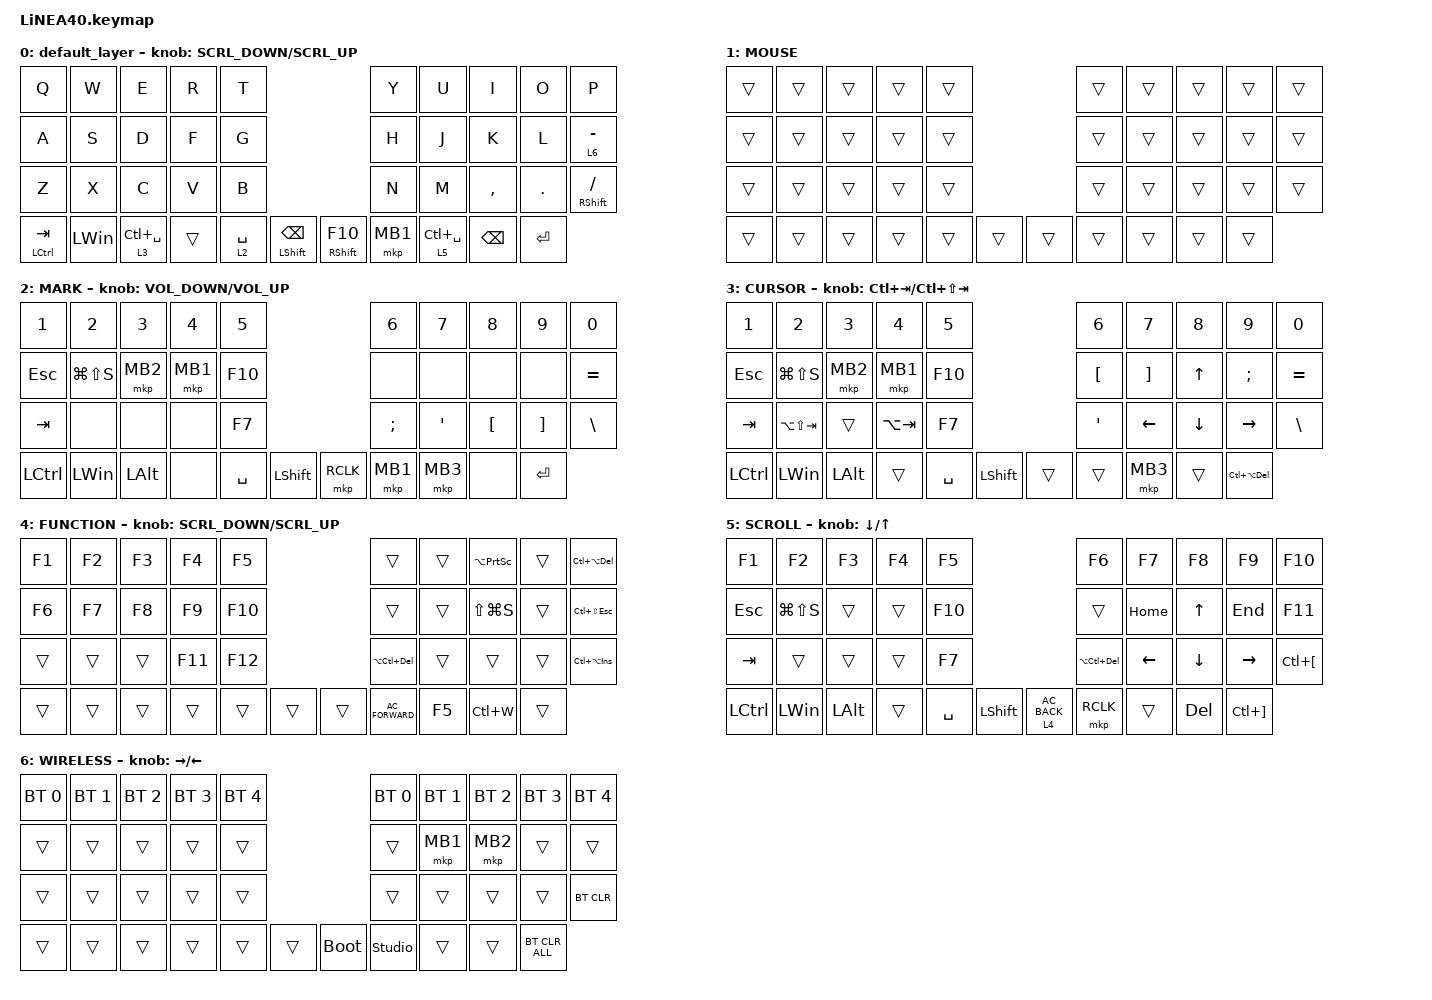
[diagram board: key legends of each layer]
#define ZMK_POINTING_DEFAULT_SCRL_VAL 150

#include <dt-bindings/zmk/input_transform.h>
#include <input/processors.dtsi>
#include <zephyr/dt-bindings/input/input-event-codes.h>
#include <behaviors.dtsi>
#include <dt-bindings/zmk/bt.h>
#include <dt-bindings/zmk/keys.h>
#include <dt-bindings/zmk/pointing.h>

#define MOUSE 1
#define MARK 2
#define CURSOR 3
#define FUNCTION 4
#define SCROLL 5
#define WIRELESS 6

//mouse cursol

&mmv {
    delay-ms = <20>;
    trigger-period-ms = <5>;
    time-to-max-speed-ms = <100>;
    acceleration-exponent = <2>;
};

//mouse scroll

&msc {
    delay-ms = <3>;
    trigger-period-ms = <3>;
    time-to-max-speed-ms = <100>;
    acceleration-exponent = <0>;
};

/ {
    input_processors {
        zip_wheel_scaler: zip_wheel_scaler {
            compatible = "zmk,input-processor-scaler";
            #input-processor-cells = <2>;
            type = <INPUT_EV_REL>;
            codes = <INPUT_REL_WHEEL>;
            track-remainders;
        };
    };
};

&msc_input_listener {
    speed_up {
        layers = <FUNCTION>;
        input-processors = <&zip_wheel_scaler 3 1>; //スクロールを3倍速にする
    };
};

&trackball_listener {
    scroller {
        layers = <SCROLL>;
        input-processors =
            <&zip_xy_transform INPUT_TRANSFORM_Y_INVERT>,
            //スクロール方向を逆転,,,,,,,,,,,,,,,,,,,,,,,,,,,,,,,,,,,,,,,,,,,,,,,,,,,,,,,
            <&zip_xy_to_scroll_mapper>;
    };
};

/ {
    combos {
        compatible = "zmk,combos";

        ZenkakuHankaku {
            bindings = <&kp GRAVE>;
            key-positions = <11 12>;
        };

        DeleteKey {
            bindings = <&kp DEL>;
            key-positions = <7 8>;
        };

        InsertKey {
            bindings = <&kp INS>;
            key-positions = <6 7>;
        };

        CenterClick {
            bindings = <&mkp MB3>;
            key-positions = <17 16>;
        };

        RightClick {
            bindings = <&mkp MB2>;
            key-positions = <18 17>;
        };

        PrevClick {
            bindings = <&mkp MB4>;
            key-positions = <27 28>;
        };

        ClickNext {
            bindings = <&mkp MB5>;
            key-positions = <26 27>;
        };
    };

    behaviors {
        re_kp: sensor_rotate_kp {
            compatible = "zmk,behavior-sensor-rotate-var";
            #sensor-binding-cells = <2>;
            bindings = <&kp>, <&kp>;
        };

        mouse_scrl: mouse_wheel_scrl {
            compatible = "zmk,behavior-sensor-rotate-var";
            #sensor-binding-cells = <2>;
            bindings = <&msc>, <&msc>;

            tap-ms = <20>;
        };

        lt_mouse: layer_tap_mouse {
            compatible = "zmk,behavior-hold-tap";
            label = "LAYER_TAP_MOUSE";
            #binding-cells = <2>;
            flavor = "tap-preferred"; // タップを優先する設定
            tapping-term-ms = <200>;  // ホールドと判定する時間（ミリ秒）
            bindings = <&mo>, <&mkp>;

            // 1番目にホールド時(&mo)、2番目にタップ時(&mkp)を指定
        };
    };

    keymap {
        compatible = "zmk,keymap";

        default_layer {
            bindings = <
&kp Q          &kp W         &kp E            &kp R   &kp T                                                         &kp Y     &kp U  &kp I            &kp O          &kp P
&kp A          &kp S         &kp D            &kp F   &kp G                                                         &kp H     &kp J  &kp K            &kp L          &lt 6 MINUS
&kp Z          &kp X         &kp C            &kp V   &kp B                                                         &kp N     &kp M  &kp COMMA        &kp DOT        &mt RIGHT_SHIFT SLASH
&mt LCTRL TAB  &kp LEFT_WIN  &lt 3 LC(SPACE)  &trans  &lt 2 SPACE  &mt LEFT_SHIFT BACKSPACE    &mt RIGHT_SHIFT F10  &mkp MB1         &lt 5 LC(SPACE)  &kp BACKSPACE  &kp ENTER
            >;

            sensor-bindings = <&mouse_scrl SCRL_DOWN SCRL_UP>;
        };

        //1

        MOUSE {
            bindings = <
&trans  &trans  &trans  &trans  &trans                    &trans  &trans  &trans  &trans  &trans
&trans  &trans  &trans  &trans  &trans                    &trans  &trans  &trans  &trans  &trans
&trans  &trans  &trans  &trans  &trans                    &trans  &trans  &trans  &trans  &trans
&trans  &trans  &trans  &trans  &trans  &trans    &trans  &trans          &trans  &trans  &trans
            >;
        };

        //2

        MARK {
            bindings = <
&kp NUMBER_1  &kp NUMBER_2   &kp NUMBER_3  &kp NUMBER_4  &kp N5                                  &kp NUMBER_6   &kp N7   &kp N8            &kp N9             &kp N0
&kp ESCAPE    &kp LG(LS(S))  &mkp MB2      &mkp MB1      &kp F10                                 &none          &none    &none             &none              &kp EQUAL
&kp TAB       &none          &none         &none         &kp F7                                  &kp SEMICOLON  &kp SQT  &kp LEFT_BRACKET  &kp RIGHT_BRACKET  &kp BACKSLASH
&kp LCTRL     &kp LEFT_WIN   &kp LEFT_ALT  &none         &kp SPACE  &kp LEFT_SHIFT    &mkp RCLK  &mkp MB1                &mkp MB3          &none              &kp ENTER
            >;

            sensor-bindings = <&re_kp C_VOLUME_DOWN C_VOLUME_UP>;
        };

        //3

        CURSOR {
            bindings = <
&kp NUMBER_1  &kp NUMBER_2     &kp NUMBER_3  &kp NUMBER_4  &kp N5                               &kp NUMBER_6      &kp NUMBER_7       &kp NUMBER_8    &kp NUMBER_9     &kp N0
&kp ESCAPE    &kp LG(LS(S))    &mkp MB2      &mkp MB1      &kp F10                              &kp LEFT_BRACKET  &kp RIGHT_BRACKET  &kp UP_ARROW    &kp SEMICOLON    &kp EQUAL
&kp TAB       &kp LA(LS(TAB))  &trans        &kp LA(TAB)   &kp F7                               &kp SINGLE_QUOTE  &kp LEFT_ARROW     &kp DOWN_ARROW  &kp RIGHT_ARROW  &kp BACKSLASH
&kp LCTRL     &kp LEFT_WIN     &kp LEFT_ALT  &trans        &kp SPACE  &kp LEFT_SHIFT    &trans  &trans                               &mkp MB3        &trans           &kp LC(LA(DEL))
            >;

            sensor-bindings = <&inc_dec_kp LC(TAB) LC(LS(TAB))>;
        };

        //4

        FUNCTION {
            bindings = <
&kp F1  &kp F2  &kp F3  &kp F4   &kp F5                     &trans            &trans  &kp LA(PRINTSCREEN)  &trans     &kp LC(LA(DELETE))
&kp F6  &kp F7  &kp F8  &kp F9   &kp F10                    &trans            &trans  &kp LS(LG(S))        &trans     &kp LC(LS(ESCAPE))
&trans  &trans  &trans  &kp F11  &kp F12                    &kp LA(LC(DEL))   &trans  &trans               &trans     &kp LC(LA(INS))
&trans  &trans  &trans  &trans   &trans   &trans    &trans  &kp C_AC_FORWARD          &kp F5               &kp LC(W)  &trans
            >;

            sensor-bindings = <&mouse_scrl SCRL_DOWN SCRL_UP>;
        };

        //5

        SCROLL {
            bindings = <
&kp F1      &kp F2         &kp F3        &kp F4  &kp F5                                        &kp F6           &kp F7    &kp F8    &kp F9     &kp F10
&kp ESCAPE  &kp LG(LS(S))  &trans        &trans  &kp F10                                       &trans           &kp HOME  &kp UP    &kp END    &kp F11
&kp TAB     &trans         &trans        &trans  &kp F7                                        &kp LA(LC(DEL))  &kp LEFT  &kp DOWN  &kp RIGHT  &kp LC(LEFT_BRACKET)
&kp LCTRL   &kp LEFT_WIN   &kp LEFT_ALT  &trans  &kp SPACE  &kp LEFT_SHIFT    &lt 4 C_AC_BACK  &mkp RCLK                  &trans    &kp DEL    &kp LC(RIGHT_BRACKET)
            >;

            sensor-bindings = <&inc_dec_kp DOWN_ARROW UP_ARROW>;
        };

        //6

        WIRELESS {
            bindings = <
&bt BT_SEL 0  &bt BT_SEL 1  &bt BT_SEL 2  &bt BT_SEL 3  &bt BT_SEL 4                         &bt BT_SEL 0    &bt BT_SEL 1  &bt BT_SEL 2  &bt BT_SEL 3  &bt BT_SEL 4
&trans        &trans        &trans        &trans        &trans                               &trans          &mkp MB1      &mkp MB2      &trans        &trans
&trans        &trans        &trans        &trans        &trans                               &trans          &trans        &trans        &trans        &bt BT_CLR
&trans        &trans        &trans        &trans        &trans        &trans    &bootloader  &studio_unlock                &trans        &trans        &bt BT_CLR_ALL
            >;

            sensor-bindings = <&inc_dec_kp RIGHT_ARROW LEFT_ARROW>;
        };
    };
};
